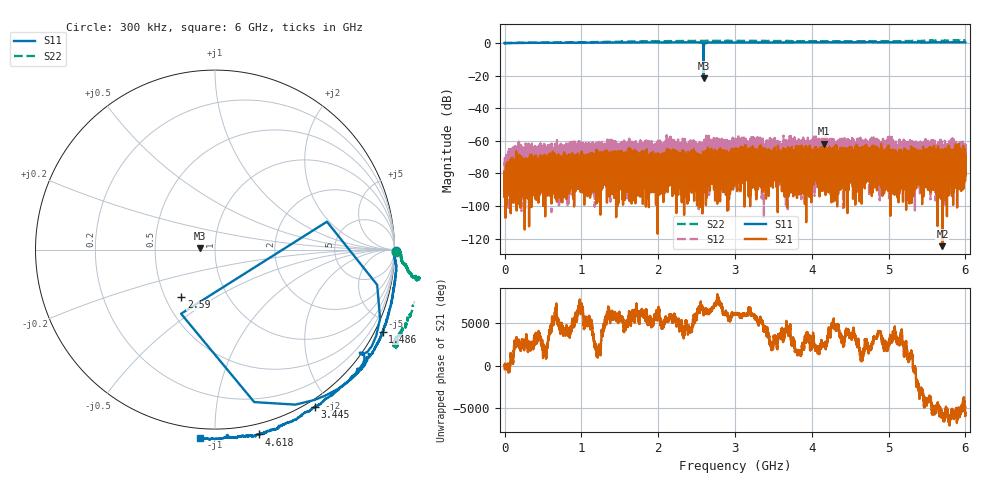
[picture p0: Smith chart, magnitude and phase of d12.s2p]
!Agilent Technologies,N5230C,SG49000117,A.08.50.07
!Agilent N5230C: A.08.50.07
!Date: Thursday, May 16, 2024 17:49:23
!Correction: S11(Full 2 Port(1,2))
!S21(Full 2 Port(1,2))
!S12(Full 2 Port(1,2))
!S22(Full 2 Port(1,2))
!S2P File: Measurements: S11, S21, S12, S22:
# Hz S  MA  R 50
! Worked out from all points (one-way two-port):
!   20001 points, 300 kHz to 6 GHz, reference 50 ohm
!   highest |S21| = -61.73 dB at 4.16 GHz (marker M1); lowest = -124.6 dB at 5.7 GHz (marker M2)
!   lowest |S11| = -21.5 dB at 2.591 GHz (marker M3), VSWR 1.18, Z = 42.3 + j0.803 ohm
!   |S11| at or under -10 dB: 2.590098 GHz to 2.592101 GHz (2.003 MHz wide, 0.0773 % of centre)
!   |S22| runs from -0.3 to 1.6 dB; largest |S21 - S12| = 0.0017
!   S11 on the Smith chart (normalised r, x): 300 kHz: open; 1.486 GHz: -0.38, -4.29; 2.59 GHz: 0.60, -0.36; 3.445 GHz: -0.08, -1.82; 4.618 GHz: -0.07, -1.26; 6 GHz: -0.05, -0.92
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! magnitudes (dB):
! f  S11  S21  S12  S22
! 300 kHz  0.1  -82.4  -70.3  0.1
! 1 GHz  0.2  -90.6  -71.6  0.5
! 1.486 GHz  0.3  -87.5  -74.2  0.8
! 2 GHz  0.4  -70.3  -71.8  1.1
! 2.137 GHz  0.4  -69.2  -72.3  1.2
! 2.219 GHz  0.4  -69.5  -68.4  1.2
! 2.59 GHz  -9.8  -71.4  -70.7  1.3
! 2.591 GHz  -21.5  -74.6  -65.9  1.3
! 2.664 GHz  0.4  -66.7  -63.6  1.3
! 2.93 GHz  0.4  -72.1  -62.3  1.3
! 3 GHz  0.3  -67.2  -64.0  1.3
! 3.445 GHz  0.3  -76.8  -77.0  1.2
! 4 GHz  0.4  -74.7  -67.5  1.2
! 4.16 GHz  0.5  -61.7  -72.3  1.1
! 4.618 GHz  0.5  -74.2  -67.0  1.1
! 4.838 GHz  0.5  -66.0  -60.7  1.0
! 4.935 GHz  0.5  -73.0  -67.7  1.1
! 5 GHz  0.5  -71.5  -58.0  1.1
! 5.14 GHz  0.5  -72.8  -69.4  1.1
! 5.7 GHz  0.4  -124.6  -68.1  1.4
! 5.881 GHz  0.5  -67.8  -65.1  1.5
! 6 GHz  0.5  -78.2  -70.1  1.5
